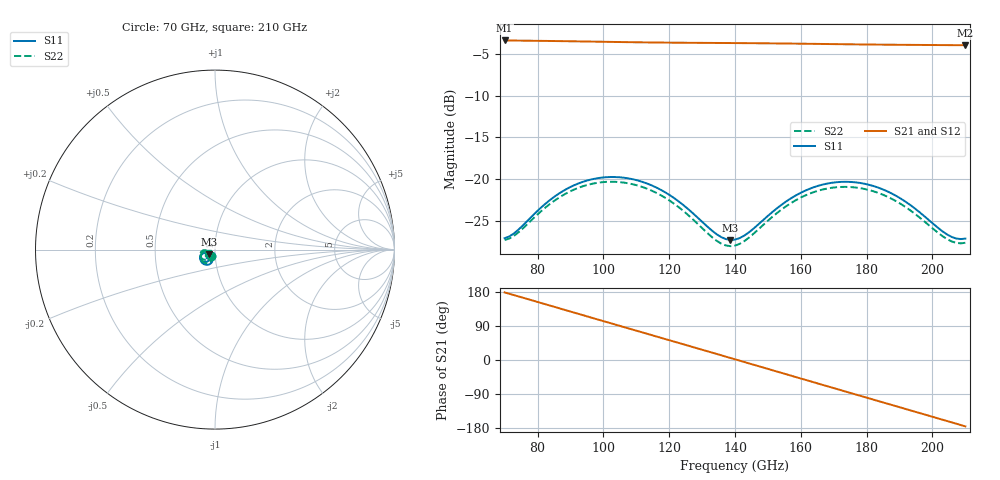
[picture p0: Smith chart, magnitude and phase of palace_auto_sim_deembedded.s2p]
! Created with skrf 1.11.0 (http://scikit-rf.org).
# GHz S DB R 50.0
!freq dBS11 angS11 dBS21 angS21 dBS12 angS12 dBS22 angS22
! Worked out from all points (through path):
!   101 points, 70 GHz to 210 GHz, reference 50 ohm
!   highest |S21| = -3.35 dB at 70 GHz (marker M1); lowest = -3.9 dB at 210 GHz (marker M2)
!   group delay of S21, straight-line fit = 7.02 ps
!   lowest |S11| = -27.3 dB at 138.6 GHz (marker M3), VSWR 1.09, Z = 46.7 - j2.48 ohm
!   |S11| at or under -10 dB: start of sweep to end of sweep
!   |S22| runs from -28.1 to -20.3 dB; largest |S21 - S12| = 7.6e-14
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70  -27.13 -120.8  -3.35 178.4  -3.35 178.4  -27.34 -124.8
74.2  -26.10 -108.4  -3.37 167.8  -3.37 167.8  -26.43 -112.9
81.2  -23.40 -103.4  -3.40 150.2  -3.40 150.2  -23.85 -108.0
88.2  -21.35 -109.7  -3.44 132.5  -3.44 132.5  -21.85 -114.6
93.8  -20.35 -118.0  -3.47 118.3  -3.47 118.3  -20.88 -123.1
99.4  -19.85 -127.4  -3.50 104.1  -3.50 104.1  -20.40 -132.8
105  -19.80 -137.0  -3.54 90.0  -3.54 90.0  -20.39 -142.8
110.6  -20.20 -146.3  -3.57 75.9  -3.57 75.9  -20.81 -152.4
117.6  -21.34 -156.2  -3.60 58.4  -3.60 58.4  -21.99 -162.7
128.8  -24.71 -161.9  -3.64 30.2  -3.64 30.2  -25.46 -168.9
134.4  -26.64 -153.9  -3.65 16.0  -3.65 16.0  -27.43 -160.7
138.6  -27.34 -141.8  -3.66 5.4  -3.66 5.4  -28.09 -148.3
140  -27.30 -137.4  -3.66 1.9  -3.66 1.9  -28.02 -143.8
145.6  -25.98 -123.5  -3.68 -12.3  -3.68 -12.3  -26.60 -130.3
151.2  -24.03 -119.3  -3.70 -26.5  -3.70 -26.5  -24.61 -126.8
163.8  -21.02 -129.3  -3.76 -58.5  -3.76 -58.5  -21.60 -138.2
175  -20.36 -145.2  -3.81 -86.8  -3.81 -86.8  -20.98 -155.0
180.6  -20.69 -153.2  -3.84 -100.9  -3.84 -100.9  -21.32 -163.3
187.6  -21.75 -161.6  -3.86 -118.5  -3.86 -118.5  -22.39 -172.2
198.8  -24.91 -165.1  -3.90 -146.8  -3.90 -146.8  -25.53 -176.2
205.8  -26.97 -152.8  -3.91 -164.5  -3.91 -164.5  -27.51 -164.5
210  -27.17 -140.2  -3.93 -175.2  -3.93 -175.2  -27.68 -152.7
